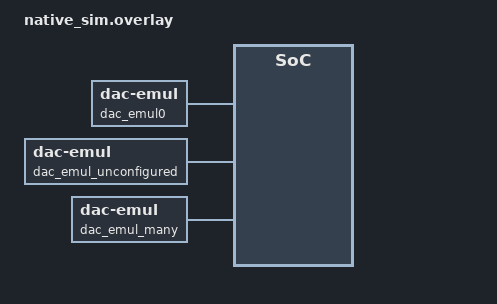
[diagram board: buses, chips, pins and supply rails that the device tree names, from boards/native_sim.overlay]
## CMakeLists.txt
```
# Copyright 2026 Vaisala Oyj
# SPDX-License-Identifier: Apache-2.0

cmake_minimum_required(VERSION 3.28.0)

find_package(Zephyr REQUIRED HINTS $ENV{ZEPHYR_BASE})
project(dac_emul)

FILE(GLOB app_sources src/*.c)
target_sources(app PRIVATE ${app_sources})
```

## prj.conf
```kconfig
CONFIG_ZTEST=y
CONFIG_DAC=y
CONFIG_LOG=y
CONFIG_DAC_LOG_LEVEL_DBG=y
CONFIG_ASSERT=y
```

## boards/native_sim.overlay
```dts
/*
 * Copyright (c) 2026, Vaisala Oyj
 *
 * SPDX-License-Identifier: Apache-2.0
 *
 */

/ {
	dac_emul0: dac-emulator-0 {
		compatible = "zephyr,dac-emul";
		nchannels = <4>;
		#io-channel-cells = <1>;
		status = "okay";
	};

	dac_emul_unconfigured: dac-emulator-1 {
		compatible = "zephyr,dac-emul";
		nchannels = <1>;
		#io-channel-cells = <1>;
		status = "okay";
	};

	dac_emul_many: dac-emulator-many {
		compatible = "zephyr,dac-emul";
		nchannels = <16>;
		#io-channel-cells = <1>;
		status = "okay";
	};
};
```

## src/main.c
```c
/*
 * Copyright (c) 2026 Vaisala Oyj
 *
 * SPDX-License-Identifier: Apache-2.0
 */

#include <zephyr/device.h>
#include <zephyr/drivers/dac.h>
#include <zephyr/drivers/dac/dac_emul.h>
#include <zephyr/kernel.h>
#include <zephyr/logging/log.h>
#include <zephyr/ztest.h>

LOG_MODULE_REGISTER(dac_emul_test);

/* Device tree nodes */
#define DAC_EMUL0_NODE             DT_NODELABEL(dac_emul0)
#define DAC_EMUL_UNCONFIGURED_NODE DT_NODELABEL(dac_emul_unconfigured)
#define DAC_EMUL_MANY_NODE         DT_NODELABEL(dac_emul_many)

/* Test devices */
static const struct device *dac_emul0 = DEVICE_DT_GET(DAC_EMUL0_NODE);
static const struct device *dac_emul_unconfigured = DEVICE_DT_GET(DAC_EMUL_UNCONFIGURED_NODE);
static const struct device *dac_emul_many = DEVICE_DT_GET(DAC_EMUL_MANY_NODE);

/*** Setup and Teardown ***/

static void *dac_emul_setup(void)
{
	zassert_true(device_is_ready(dac_emul0), "DAC emulator 0 not ready");
	zassert_true(device_is_ready(dac_emul_unconfigured), "DAC emulator 1 not ready");
	zassert_true(device_is_ready(dac_emul_many), "DAC emulator many not ready");

	return NULL;
}

/*** Channel Setup Tests ***/

ZTEST(dac_emul_tests, test_channel_setup_valid)
{
	struct dac_channel_cfg cfg = {
		.channel_id = 0,
		.resolution = 12,
	};

	int ret = dac_channel_setup(dac_emul0, &cfg);

	zassert_equal(ret, 0, "Valid channel setup should succeed");
}

ZTEST(dac_emul_tests, test_channel_setup_all_channels)
{
	/* Setup all 4 channels on dac_emul0 */
	for (uint8_t i = 0; i < 4; i++) {
		struct dac_channel_cfg cfg = {
			.channel_id = i, .resolution = 8 + i, /* 8, 9, 10, 11 bits */
		};

		int ret = dac_channel_setup(dac_emul0, &cfg);

		zassert_equal(ret, 0, "Channel %u setup should succeed", i);
	}
}

ZTEST(dac_emul_tests, test_channel_setup_invalid_channel)
{
	struct dac_channel_cfg cfg = {
		.channel_id = 10, /* Invalid for 4-channel device */
		.resolution = 12,
	};

	int ret = dac_channel_setup(dac_emul0, &cfg);

	zassert_equal(ret, -EINVAL, "Invalid channel should return -EINVAL");
}

ZTEST(dac_emul_tests, test_channel_setup_zero_resolution)
{
	struct dac_channel_cfg cfg = {
		.channel_id = 0, .resolution = 0, /* Invalid */
	};

	int ret = dac_channel_setup(dac_emul0, &cfg);

	zassert_equal(ret, -EINVAL, "Zero resolution should return -EINVAL");
}

ZTEST(dac_emul_tests, test_channel_setup_excessive_resolution)
{
	struct dac_channel_cfg cfg = {
		.channel_id = 0, .resolution = 33, /* Exceeds 32-bit maximum */
	};

	int ret = dac_channel_setup(dac_emul0, &cfg);

	zassert_equal(ret, -EINVAL, "Excessive resolution should return -EINVAL");
}

ZTEST(dac_emul_tests, test_channel_setup_resolution_boundaries)
{
	/* Test minimum valid resolution (1 bit) */
	struct dac_channel_cfg cfg1 = {
		.channel_id = 0,
		.resolution = 1,
	};
	int ret = dac_channel_setup(dac_emul0, &cfg1);

	zassert_equal(ret, 0, "1-bit resolution should be valid");

	/* Test maximum valid resolution (32 bits) */
	struct dac_channel_cfg cfg32 = {
		.channel_id = 1,
		.resolution = 32,
	};
	ret = dac_channel_setup(dac_emul0, &cfg32);
	zassert_equal(ret, 0, "32-bit resolution should be valid");
}

/*** Write Value Tests ***/

ZTEST(dac_emul_tests, test_write_value_basic)
{
	/* Setup channel first */
	struct dac_channel_cfg cfg = {
		.channel_id = 0,
		.resolution = 12,
	};
	int ret = dac_channel_setup(dac_emul0, &cfg);

	zassert_equal(ret, 0, "Setup should succeed");

	/* Write a value */
	uint32_t test_value = 2048; /* Half of 12-bit range */

	ret = dac_write_value(dac_emul0, 0, test_value);
	zassert_equal(ret, 0, "Write should succeed");

	/* Verify the value was written */
	uint32_t read_value;

	ret = dac_emul_value_get(dac_emul0, 0, &read_value);
	zassert_equal(ret, 0, "Read should succeed");
	zassert_equal(read_value, test_value, "Read value should match written value");
}

ZTEST(dac_emul_tests, test_write_value_boundary)
{
	/* Setup 8-bit channel */
	struct dac_channel_cfg cfg = {
		.channel_id = 0,
		.resolution = 8,
	};
	int ret = dac_channel_setup(dac_emul0, &cfg);

	zassert_equal(ret, 0, "Setup should succeed");

	/* Test minimum value (0) */
	ret = dac_write_value(dac_emul0, 0, 0);
	zassert_equal(ret, 0, "Write min value should succeed");

	uint32_t value;

	ret = dac_emul_value_get(dac_emul0, 0, &value);
	zassert_equal(value, 0, "Min value should be 0");

	/* Test maximum value (255 for 8-bit) */
	ret = dac_write_value(dac_emul0, 0, 255);
	zassert_equal(ret, 0, "Write max value should succeed");

	ret = dac_emul_value_get(dac_emul0, 0, &value);
	zassert_equal(value, 255, "Max value should be 255");
}

ZTEST(dac_emul_tests, test_write_value_out_of_range)
{
	/* Setup 8-bit channel */
	struct dac_channel_cfg cfg = {
		.channel_id = 0,
		.resolution = 8,
	};
	int ret = dac_channel_setup(dac_emul0, &cfg);

	zassert_equal(ret, 0, "Setup should succeed");

	/* Try to write value exceeding 8-bit range */
	ret = dac_write_value(dac_emul0, 0, 256);
	zassert_equal(ret, -EINVAL, "Out of range value should return -EINVAL");

	ret = dac_write_value(dac_emul0, 0, 1000);
	zassert_equal(ret, -EINVAL, "Out of range value should return -EINVAL");
}

ZTEST(dac_emul_tests, test_write_value_unconfigured_channel)
{
	/* Try to write to unconfigured channel */
	int ret = dac_write_value(dac_emul_unconfigured, 0, 100);

	zassert_equal(ret, -ENXIO, "Write to unconfigured channel should return -ENXIO");
}

ZTEST(dac_emul_tests, test_write_value_invalid_channel)
{
	/* Try to write to non-existent channel */
	int ret = dac_write_value(dac_emul0, 10, 100);

	zassert_equal(ret, -EINVAL, "Write to invalid channel should return -EINVAL");
}

/*** Read Value Tests ***/

ZTEST(dac_emul_tests, test_read_value_unconfigured_channel)
{
	uint32_t value;
	int ret = dac_emul_value_get(dac_emul_unconfigured, 0, &value);

	zassert_equal(ret, -ENXIO, "Read from unconfigured channel should return -ENXIO");
	zassert_equal(value, 0, "Value should be 0 for unconfigured channel");
}

ZTEST(dac_emul_tests, test_read_value_invalid_channel)
{
	uint32_t value;
	int ret = dac_emul_value_get(dac_emul0, 10, &value);

	zassert_equal(ret, -EINVAL, "Read from invalid channel should return -EINVAL");
}

ZTEST(dac_emul_tests, test_read_value_null_pointer)
{
	/* Setup channel first */
	struct dac_channel_cfg cfg = {
		.channel_id = 0,
		.resolution = 12,
	};
	int ret = dac_channel_setup(dac_emul0, &cfg);

	zassert_equal(ret, 0, "Setup should succeed");

	/* Try to read with NULL pointer */
	ret = dac_emul_value_get(dac_emul0, 0, NULL);
	zassert_equal(ret, -EINVAL, "NULL pointer should return -EINVAL");
}

/*** Multiple Resolution Tests ***/

ZTEST(dac_emul_tests, test_different_resolutions)
{
	struct {
		uint8_t channel;
		uint8_t resolution;
		uint32_t test_value;
		uint32_t max_value;
	} tests[] = {
		{0, 1, 1, 1},          /* 1-bit: max = 1 */
		{1, 8, 128, 255},      /* 8-bit: max = 255 */
		{2, 12, 2048, 4095},   /* 12-bit: max = 4095 */
		{3, 16, 32768, 65535}, /* 16-bit: max = 65535 */
	};

	for (size_t i = 0; i < ARRAY_SIZE(tests); i++) {
		/* Setup channel */
		struct dac_channel_cfg cfg = {
			.channel_id = tests[i].channel,
			.resolution = tests[i].resolution,
		};
		int ret = dac_channel_setup(dac_emul0, &cfg);

		zassert_equal(ret, 0, "Setup channel %u should succeed", tests[i].channel);

		/* Write test value */
		ret = dac_write_value(dac_emul0, tests[i].channel, tests[i].test_value);
		zassert_equal(ret, 0, "Write to channel %u should succeed", tests[i].channel);

		/* Read back and verify */
		uint32_t value;

		ret = dac_emul_value_get(dac_emul0, tests[i].channel, &value);
		zassert_equal(ret, 0, "Read from channel %u should succeed", tests[i].channel);
		zassert_equal(value, tests[i].test_value, "Channel %u value mismatch",
			      tests[i].channel);

		/* Verify maximum value works */
		ret = dac_write_value(dac_emul0, tests[i].channel, tests[i].max_value);
		zassert_equal(ret, 0, "Write max value to channel %u should succeed",
			      tests[i].channel);

		/* Verify exceeding maximum fails */
		ret = dac_write_value(dac_emul0, tests[i].channel, tests[i].max_value + 1);
		zassert_equal(ret, -EINVAL, "Write beyond max to channel %u should fail",
			      tests[i].channel);
	}
}

/*** Multiple Device Tests ***/

ZTEST(dac_emul_tests, test_multiple_devices_independent)
{
	/* Setup channel on first device */
	struct dac_channel_cfg cfg0 = {
		.channel_id = 0,
		.resolution = 8,
	};
	int ret = dac_channel_setup(dac_emul0, &cfg0);

	zassert_equal(ret, 0, "Setup device 0 should succeed");

	ret = dac_write_value(dac_emul0, 0, 100);
	zassert_equal(ret, 0, "Write to device 0 should succeed");

	/* Setup channel on second device */
	struct dac_channel_cfg cfg1 = {
		.channel_id = 0,
		.resolution = 12,
	};
	ret = dac_channel_setup(dac_emul_many, &cfg1);
	zassert_equal(ret, 0, "Setup device 1 should succeed");

	ret = dac_write_value(dac_emul_many, 0, 2000);
	zassert_equal(ret, 0, "Write to device 1 should succeed");

	/* Verify both devices maintain independent values */
	uint32_t value0, value1;

	ret = dac_emul_value_get(dac_emul0, 0, &value0);
	zassert_equal(ret, 0, "Read device 0 should succeed");
	zassert_equal(value0, 100, "Device 0 value should be unchanged");

	ret = dac_emul_value_get(dac_emul_many, 0, &value1);
	zassert_equal(ret, 0, "Read device 1 should succeed");
	zassert_equal(value1, 2000, "Device 1 value should be correct");
}

/*** Concurrent Access Tests ***/

#define CONCURRENT_ITERATIONS         100
#define CONCURRENT_THREADS            4
#define CONCURRENT_THREADS_STACK_SIZE 1024
/* Create threads */
K_THREAD_STACK_ARRAY_DEFINE(stacks, CONCURRENT_THREADS, CONCURRENT_THREADS_STACK_SIZE);
struct k_thread threads[CONCURRENT_THREADS];

struct concurrent_test_data {
	const struct device *dev;
	uint8_t channel;
	uint32_t start_value;
	volatile bool start_flag;
};

static void concurrent_write_thread(void *arg1, void *arg2, void *arg3)
{
	ARG_UNUSED(arg2);
	ARG_UNUSED(arg3);

	struct concurrent_test_data *data = arg1;

	/* Wait for start signal */
	while (!data->start_flag) {
		k_yield();
	}

	/* Perform writes */
	for (int i = 0; i < CONCURRENT_ITERATIONS; i++) {
		uint32_t value = data->start_value + i;
		int ret = dac_write_value(data->dev, data->channel, value % 256);

		zassert_equal(ret, 0, "Concurrent write should succeed");
		k_yield();
	}
}

ZTEST(dac_emul_tests, test_concurrent_writes)
{
	struct dac_channel_cfg cfg = {
		.channel_id = 0,
		.resolution = 8,
	};
	int ret = dac_channel_setup(dac_emul_many, &cfg);

	zassert_equal(ret, 0, "Setup should succeed");

	struct concurrent_test_data test_data = {
		.dev = dac_emul_many,
		.channel = 0,
		.start_value = 0,
		.start_flag = false,
	};

	for (int i = 0; i < CONCURRENT_THREADS; i++) {
		k_thread_create(&threads[i], stacks[i], CONCURRENT_THREADS_STACK_SIZE,
				concurrent_write_thread, &test_data, NULL, NULL, K_PRIO_PREEMPT(5),
				0, K_NO_WAIT);
	}

	/* Start all threads */
	test_data.start_flag = true;

	/* Wait for threads to complete */
	for (int i = 0; i < CONCURRENT_THREADS; i++) {
		k_thread_join(&threads[i], K_FOREVER);
	}

	/* Verify device is still functional */
	ret = dac_write_value(dac_emul_many, 0, 123);
	zassert_equal(ret, 0, "Write after concurrent access should succeed");

	uint32_t value;

	ret = dac_emul_value_get(dac_emul_many, 0, &value);
	zassert_equal(ret, 0, "Read after concurrent access should succeed");
	zassert_equal(value, 123, "Value should be correct");
}

ZTEST(dac_emul_tests, test_many_channels)
{
	/* Setup and test all 16 channels */
	for (uint8_t ch = 0; ch < 16; ch++) {
		struct dac_channel_cfg cfg = {
			.channel_id = ch,
			.resolution = 8,
		};

		int ret = dac_channel_setup(dac_emul_many, &cfg);

		zassert_equal(ret, 0, "Setup channel %u should succeed", ch);

		/* Write unique value to each channel */
		uint32_t write_val = ch * 10;

		ret = dac_write_value(dac_emul_many, ch, write_val);
		zassert_equal(ret, 0, "Write to channel %u should succeed", ch);
	}

	/* Verify all channels have correct values */
	for (uint8_t ch = 0; ch < 16; ch++) {
		uint32_t value;

		int ret = dac_emul_value_get(dac_emul_many, ch, &value);

		zassert_equal(ret, 0, "Read from channel %u should succeed", ch);
		zassert_equal(value, ch * 10, "Channel %u value mismatch", ch);
	}
}

/*** Edge Case Tests ***/

ZTEST(dac_emul_tests, test_32bit_resolution)
{
	/* Test maximum resolution (32 bits) */
	struct dac_channel_cfg cfg = {
		.channel_id = 0,
		.resolution = 32,
	};
	int ret = dac_channel_setup(dac_emul_many, &cfg);

	zassert_equal(ret, 0, "32-bit resolution setup should succeed");

	/* Write maximum 32-bit value */
	uint32_t max_val = UINT32_MAX;

	ret = dac_write_value(dac_emul_many, 0, max_val);
	zassert_equal(ret, 0, "Write max 32-bit value should succeed");

	/* Read back */
	uint32_t value;

	ret = dac_emul_value_get(dac_emul_many, 0, &value);

	zassert_equal(ret, 0, "Read should succeed");
	zassert_equal(value, max_val, "Value should match");
}

ZTEST(dac_emul_tests, test_1bit_resolution)
{
	/* Test minimum resolution (1 bit) */
	struct dac_channel_cfg cfg = {
		.channel_id = 0,
		.resolution = 1,
	};

	int ret = dac_channel_setup(dac_emul_many, &cfg);

	zassert_equal(ret, 0, "1-bit resolution setup should succeed");

	ret = dac_write_value(dac_emul_many, 0, 0);
	zassert_equal(ret, 0, "Write 0 should succeed");

	uint32_t value;

	ret = dac_emul_value_get(dac_emul_many, 0, &value);
	zassert_equal(value, 0, "Value should be 0");

	ret = dac_write_value(dac_emul_many, 0, 1);
	zassert_equal(ret, 0, "Write 1 should succeed");

	ret = dac_emul_value_get(dac_emul_many, 0, &value);
	zassert_equal(value, 1, "Value should be 1");

	/* Test invalid value (2) */
	ret = dac_write_value(dac_emul_many, 0, 2);
	zassert_equal(ret, -EINVAL, "Write 2 should fail for 1-bit");
}

/*** Test Suite Definition ***/

ZTEST_SUITE(dac_emul_tests, NULL, dac_emul_setup, NULL, NULL, NULL);
```
